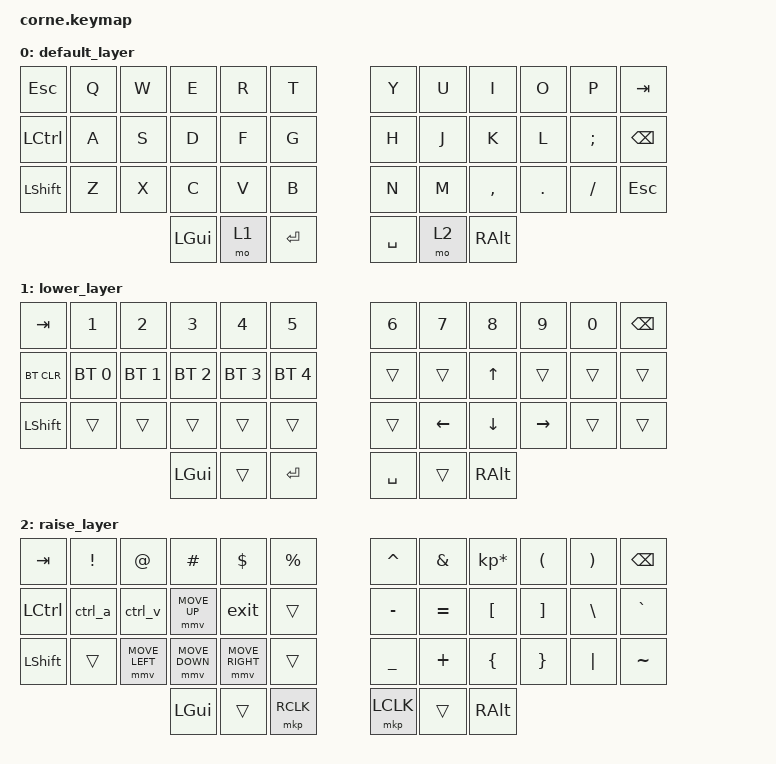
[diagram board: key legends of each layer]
/*
 * Copyright (c) 2020 The ZMK Contributors
 *
 * SPDX-License-Identifier: MIT
 */

#include <behaviors.dtsi>
#include <dt-bindings/zmk/bt.h>
#include <dt-bindings/zmk/keys.h>
#include <dt-bindings/zmk/pointing.h>
#include <dt-bindings/zmk/pointing.h>

&led_strip { chain-length = <27>; };

/ {
    macros {
        ctrl_a: ctrl_a {
            compatible = "zmk,behavior-macro";
            #binding-cells = <0>;
            bindings = <&kp LC(A)>;
            label = "CTRL_A";
        };

        ctrl_v: ctrl_v {
            compatible = "zmk,behavior-macro";
            #binding-cells = <0>;
            bindings = <&kp LC(V)>;
            label = "CTRL_V";
        };

        exit: exit {
            compatible = "zmk,behavior-macro";
            #binding-cells = <0>;
            bindings = <&kp E &kp X &kp I &kp T &kp ENTER>;
            label = "EXIT";
        };
    };

    keymap {
        compatible = "zmk,keymap";

        default_layer {
            // -----------------------------------------------------------------------------------------
            // |  TAB |  Q  |  W  |  E  |  R  |  T  |   |  Y  |  U   |  I  |  O  |  P  | BKSP |
            // | CTRL |  A  |  S  |  D  |  F  |  G  |   |  H  |  J   |  K  |  L  |  ;  |  '   |
            // | SHFT |  Z  |  X  |  C  |  V  |  B  |   |  N  |  M   |  ,  |  .  |  /  | ESC  |
            //                    | GUI | LWR | SPC |   | ENT | RSE  | ALT |

            bindings = <
&kp ESCAPE  &kp Q  &kp W  &kp E     &kp R  &kp T        &kp Y      &kp U  &kp I      &kp O    &kp P     &kp TAB
&kp LCTRL   &kp A  &kp S  &kp D     &kp F  &kp G        &kp H      &kp J  &kp K      &kp L    &kp SEMI  &kp BACKSPACE
&kp LSHFT   &kp Z  &kp X  &kp C     &kp V  &kp B        &kp N      &kp M  &kp COMMA  &kp DOT  &kp FSLH  &kp ESC
                          &kp LGUI  &mo 1  &kp ENTER    &kp SPACE  &mo 2  &kp RALT
            >;
        };

        lower_layer {
            // -----------------------------------------------------------------------------------------
            // |  TAB |  1  |  2  |  3  |  4  |  5  |   |  6  |  7  |  8  |  9  |  0  | BKSP |
            // | BTCLR| BT1 | BT2 | BT3 | BT4 | BT5 |   | LFT | DWN |  UP | RGT |     |      |
            // | SHFT |     |     |     |     |     |   |     |     |     |     |     |      |
            //                    | GUI |     | SPC |   | ENT |     | ALT |

            bindings = <
&kp TAB     &kp N1        &kp N2        &kp N3        &kp N4        &kp N5          &kp N6     &kp N7          &kp N8          &kp N9           &kp N0  &kp BSPC
&bt BT_CLR  &bt BT_SEL 0  &bt BT_SEL 1  &bt BT_SEL 2  &bt BT_SEL 3  &bt BT_SEL 4    &trans     &trans          &kp UP          &trans           &trans  &trans
&kp LSHFT   &trans        &trans        &trans        &trans        &trans          &trans     &kp LEFT_ARROW  &kp DOWN_ARROW  &kp RIGHT_ARROW  &trans  &trans
                                        &kp LGUI      &trans        &kp ENTER       &kp SPACE  &trans          &kp RALT
            >;
        };

        raise_layer {
            // -----------------------------------------------------------------------------------------
            // |  TAB |  !  |  @  |  #  |  $  |  %  |   |  ^  |  &  |  *  |  (  |  )  | BKSP |
            // | CTRL |     |     |     |     |     |   |  -  |  =  |  [  |  ]  |  \  |  `   |
            // | SHFT |     |     |     |     |     |   |  _  |  +  |  {  |  }  | "|" |  ~   |
            //                    | GUI |     | SPC |   | ENT |     | ALT |

            bindings = <
&kp TAB    &kp EXCL  &kp AT          &kp HASH        &kp DLLR         &kp PRCNT    &kp CARET  &kp AMPS   &kp KP_MULTIPLY  &kp LPAR  &kp RPAR  &kp BSPC
&kp LCTRL  &ctrl_a   &ctrl_v         &mmv MOVE_UP    &exit            &trans       &kp MINUS  &kp EQUAL  &kp LBKT         &kp RBKT  &kp BSLH  &kp GRAVE
&kp LSHFT  &trans    &mmv MOVE_LEFT  &mmv MOVE_DOWN  &mmv MOVE_RIGHT  &trans       &kp UNDER  &kp PLUS   &kp LBRC         &kp RBRC  &kp PIPE  &kp TILDE
                                     &kp LGUI        &trans           &mkp RCLK    &mkp LCLK  &trans     &kp RALT
            >;
        };
    };
};
